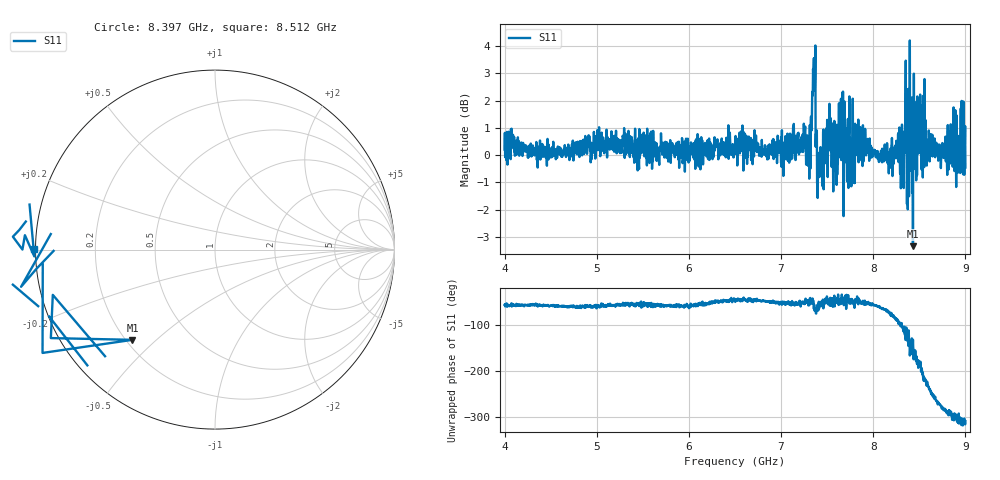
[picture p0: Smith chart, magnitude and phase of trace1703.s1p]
! Created with skrf 1.8.0 (http://scikit-rf.org).
# Hz S RI R 50.0
!freq ReS11 ImS11
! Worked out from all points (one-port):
!   1601 points, 4 GHz to 9 GHz, reference 50 ohm
!   lowest |S11| = -3.3 dB at 8.431 GHz (marker M1), VSWR 5.27, Z = 11.2 - j21.1 ohm
!   |S11| at or under -10 dB: nowhere
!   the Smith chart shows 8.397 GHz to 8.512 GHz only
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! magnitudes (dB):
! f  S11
! 4 GHz  0.2
! 4.625 GHz  -0.1
! 5.25 GHz  0.3
! 5.875 GHz  0.1
! 6.5 GHz  0.4
! 7.125 GHz  0.6
! 7.241 GHz  0.3
! 7.294 GHz  0.5
! 7.316 GHz  0.0
! 7.347 GHz  3.2
! 7.362 GHz  3.6
! 7.4 GHz  -0.2
! 7.416 GHz  -0.8
! 7.512 GHz  1.3
! 7.591 GHz  1.0
! 7.65 GHz  2.1
! 7.75 GHz  0.5
! 8.262 GHz  0.1
! 8.312 GHz  1.1
! 8.338 GHz  0.1
! 8.35 GHz  2.1
! 8.375 GHz  -2.0
! 8.431 GHz  -3.3
! 8.541 GHz  2.2
! 8.597 GHz  0.4
! 8.722 GHz  -0.1
! 8.972 GHz  0.8
! 9 GHz  -0.5
